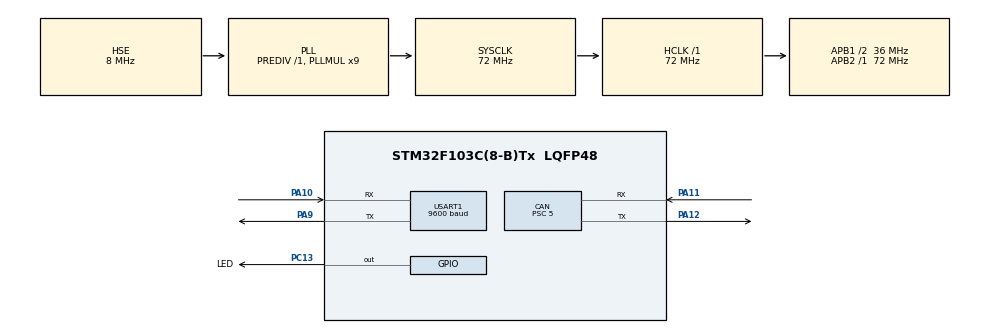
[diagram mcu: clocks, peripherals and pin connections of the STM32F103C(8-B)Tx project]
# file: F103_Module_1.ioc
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CAN.BS1=CAN_BS1_10TQ
CAN.BS2=CAN_BS2_5TQ
CAN.CalculateBaudRate=450000
CAN.CalculateTimeBit=2222
CAN.CalculateTimeQuantum=138.88888888888889
CAN.Prescaler=5
Mcu.Family=STM32F1
Mcu.Name=STM32F103C(8-B)Tx
Mcu.Package=LQFP48
NVIC.PriorityGroup=NVIC_PRIORITYGROUP_4
PA10.Mode=Asynchronous
PA10.Signal=USART1_RX
PA11.Mode=CAN_Activate
PA11.Signal=CAN_RX
PA12.Mode=CAN_Activate
PA12.Signal=CAN_TX
PA9.Mode=Asynchronous
PA9.Signal=USART1_TX
PC13-TAMPER-RTC.GPIO_Label=LED
PC13-TAMPER-RTC.Signal=GPIO_Output
PD0-OSC_IN.Mode=HSE-External-Oscillator
PD0-OSC_IN.Signal=RCC_OSC_IN
PD1-OSC_OUT.Mode=HSE-External-Oscillator
PD1-OSC_OUT.Signal=RCC_OSC_OUT
ProjectManager.HeapSize=0x200
ProjectManager.StackSize=0x400
ProjectManager.TargetToolchain=STM32CubeIDE
RCC.AHBFreq_Value=72000000
RCC.APB1CLKDivider=RCC_HCLK_DIV2
RCC.APB1Freq_Value=36000000
RCC.APB1TimFreq_Value=72000000
RCC.APB2Freq_Value=72000000
RCC.APB2TimFreq_Value=72000000
RCC.HCLKFreq_Value=72000000
RCC.PLLMUL=RCC_PLL_MUL9
RCC.PLLSourceVirtual=RCC_PLLSOURCE_HSE
RCC.SYSCLKFreq_VALUE=72000000
RCC.SYSCLKSource=RCC_SYSCLKSOURCE_PLLCLK
RCC.USBFreq_Value=72000000
USART1.BaudRate=9600
USART1.VirtualMode=VM_ASYNC
board=custom

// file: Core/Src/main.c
/* USER CODE BEGIN Header */
/**
  ******************************************************************************
  * @file           : main.c
  * @brief          : Main program body
  ******************************************************************************
  * @attention
  *
  * Copyright (c) 2024 STMicroelectronics.
  * All rights reserved.
  *
  * This software is licensed under terms that can be found in the LICENSE file
  * in the root directory of this software component.
  * If no LICENSE file comes with this software, it is provided AS-IS.
  *
  ******************************************************************************
  */
/* USER CODE END Header */
#include "main.h"

/* USER CODE BEGIN Includes */
#include <math.h>
#include<stdio.h>
#include<string.h>
#include <stdlib.h>

/* USER CODE END Includes */

CAN_HandleTypeDef hcan;

UART_HandleTypeDef huart1;

/* USER CODE BEGIN PV */
char datatxt[5];
float data2;
double data3;
int virgulOncesi;
int virgulSonrasi;
uint8_t Package8_1[8];
uint8_t Package8_2[8];
uint8_t Package8_3[8];
uint8_t Package8_4[8];

float Package81_1[8];
float Package81_2[8];
float Package81_3[8];
float Package81_4[8];

uint8_t dataReceive[8];
char sdata[20];
float Package1[8];
float Package2[8];
float Package3[8];
float Package4[8];
int i;
int satallite = 8;
uint8_t nextionEnd[3] = {0xFF,0xFF,0xFF};

/* USER CODE END PV */

void SystemClock_Config(void);
static void MX_GPIO_Init(void);
static void MX_CAN_Init(void);
static void MX_USART1_UART_Init(void);
/* USER CODE BEGIN PFP */
void sendNextion();
uint8_t def_msb(float value);
uint8_t def_lsb(float value);
double Thermistor(uint8_t value);
/*
float getVoltage(uint8_t value){
	value = value*3.3/255;

}*/

void txtNextion(char *location, float data);
void numNextion(char *location, int data);
void picNextion(char *location, int data);
void ppicNextion(char *location, int data);
void progbarNextion(char *location, int data);
void inttxtNextion(char *location, int data);
/* USER CODE END PFP */

/* USER CODE BEGIN 0 */
CAN_RxHeaderTypeDef RxHeader[0];

/* USER CODE END 0 */

int main(void)
{

  /* MCU Configuration--------------------------------------------------------*/

  /* Reset of all peripherals, Initializes the Flash interface and the Systick. */
  HAL_Init();

  /* Configure the system clock */
  SystemClock_Config();

  /* Initialize all configured peripherals */
  MX_GPIO_Init();
  MX_CAN_Init();
  MX_USART1_UART_Init();
  /* USER CODE BEGIN 2 */
  HAL_CAN_Start(&hcan);

  /* USER CODE END 2 */

  /* Infinite loop */
  while (1)
  {

    /* USER CODE BEGIN 3 */
	  HAL_GPIO_WritePin(LED_GPIO_Port, LED_Pin, 1);
	  //HAL_Delay(50);
	  HAL_CAN_GetRxMessage(&hcan, CAN_RX_FIFO0, &RxHeader[0], dataReceive);
	  if(RxHeader[0].ExtId == 0x0CFFFFFF){
		  HAL_GPIO_WritePin(LED_GPIO_Port, LED_Pin, 0);
		  HAL_Delay(50);
		  for(i=0;i<=7;i++){
			  Package8_1[i] = dataReceive[i];
		  }
	  }
	  HAL_CAN_GetRxMessage(&hcan, CAN_RX_FIFO0, &RxHeader[0], dataReceive);
	  if(RxHeader[0].ExtId == 0x0DFFFFFF){
	  HAL_GPIO_WritePin(LED_GPIO_Port, LED_Pin, 0);
	  //HAL_Delay(50);
		  for(i=0;i<=7;i++){
			  Package8_2[i] = dataReceive[i];
		  }
	  }
	  HAL_CAN_GetRxMessage(&hcan, CAN_RX_FIFO0, &RxHeader[0], dataReceive);
	  if(RxHeader[0].ExtId == 0x0EFFFFFF){
	  HAL_GPIO_WritePin(LED_GPIO_Port, LED_Pin, 0);
	  //HAL_Delay(50);
		  for(i=0;i<=7;i++){
			  Package8_3[i] = dataReceive[i];
		  }
	  }
	  HAL_CAN_GetRxMessage(&hcan, CAN_RX_FIFO0, &RxHeader[0], dataReceive);
	  if(RxHeader[0].ExtId == 0x0FFFFFFF){
	  HAL_GPIO_WritePin(LED_GPIO_Port, LED_Pin, 0);
	 // HAL_Delay(50);
		  for(i=0;i<=7;i++){
			  Package8_4[i] = dataReceive[i];
		  }
	  }
	  //HAL_Delay(50);
	  for(i=0;i<=7;i++){
		  Package1[i] = Thermistor(Package8_1[i]);
		  Package2[i] = Thermistor(Package8_2[i]);
		  Package3[i] = Thermistor(Package8_3[i]);

		  //Package4[i] = Thermistor(Package8_4[i]*16);
	  }
	  Package3[4] = Package8_3[4]*84/255;
	  Package4[0] = Thermistor(Package8_4[0]);
	  Package4[1] = Thermistor(Package8_4[1]);
	  Package4[2] = Thermistor(Package8_4[2]);
	  Package4[3] = Package8_4[3];
	  Package4[4] = Thermistor(Package8_4[4]);
	  Package4[5] = Package8_4[5];
/*
	  while(Package1[0] && Package2[0] && Package2[0] && Package2[0] == "nan"){

	  }
	  */
	  /*
		  for(int i = 0;i<8;i++){
			  int x = (int)def_msb(Package81_1[i]);
			  int y = (int)def_lsb(Package81_1[i]);
			  Package1[i] = (float)x+(float)(y/100.00);
			  x=0;
			  y=0;

			  x = (int)def_msb(Package81_2[i]);
			  y = (int)def_lsb(Package81_2[i]);
			  Package2[i] = (float)x+(float)(y/100.00);
			  x=0;
			  y=0;

			  x = (int)def_msb(Package81_3[i]);
			  y = (int)def_lsb(Package81_3[i]);
			  Package3[i] = (float)x+(float)(y/100.00);
			  x=0;
			  y=0;

			  x = (int)def_msb(Package81_4[i]);
			  y = (int)def_lsb(Package81_4[i]);
			  Package4[i] = (float)x+(float)(y/100.00);
			  x=0;
			  y=0;
		  }
		  */
	  sendNextion();

  }
  /* USER CODE END 3 */
}

void SystemClock_Config(void)
{
  RCC_OscInitTypeDef RCC_OscInitStruct = {0};
  RCC_ClkInitTypeDef RCC_ClkInitStruct = {0};

  /** Initializes the RCC Oscillators according to the specified parameters
  * in the RCC_OscInitTypeDef structure.
  */
  RCC_OscInitStruct.OscillatorType = RCC_OSCILLATORTYPE_HSE;
  RCC_OscInitStruct.HSEState = RCC_HSE_ON;
  RCC_OscInitStruct.HSEPredivValue = RCC_HSE_PREDIV_DIV1;
  RCC_OscInitStruct.HSIState = RCC_HSI_ON;
  RCC_OscInitStruct.PLL.PLLState = RCC_PLL_ON;
  RCC_OscInitStruct.PLL.PLLSource = RCC_PLLSOURCE_HSE;
  RCC_OscInitStruct.PLL.PLLMUL = RCC_PLL_MUL9;
  if (HAL_RCC_OscConfig(&RCC_OscInitStruct) != HAL_OK)
  {
    Error_Handler();
  }

  /** Initializes the CPU, AHB and APB buses clocks
  */
  RCC_ClkInitStruct.ClockType = RCC_CLOCKTYPE_HCLK|RCC_CLOCKTYPE_SYSCLK
                              |RCC_CLOCKTYPE_PCLK1|RCC_CLOCKTYPE_PCLK2;
  RCC_ClkInitStruct.SYSCLKSource = RCC_SYSCLKSOURCE_PLLCLK;
  RCC_ClkInitStruct.AHBCLKDivider = RCC_SYSCLK_DIV1;
  RCC_ClkInitStruct.APB1CLKDivider = RCC_HCLK_DIV2;
  RCC_ClkInitStruct.APB2CLKDivider = RCC_HCLK_DIV1;

  if (HAL_RCC_ClockConfig(&RCC_ClkInitStruct, FLASH_LATENCY_2) != HAL_OK)
  {
    Error_Handler();
  }
}

static void MX_CAN_Init(void)
{

  hcan.Instance = CAN1;
  hcan.Init.Prescaler = 5;
  hcan.Init.Mode = CAN_MODE_NORMAL;
  hcan.Init.SyncJumpWidth = CAN_SJW_1TQ;
  hcan.Init.TimeSeg1 = CAN_BS1_10TQ;
  hcan.Init.TimeSeg2 = CAN_BS2_5TQ;
  hcan.Init.TimeTriggeredMode = DISABLE;
  hcan.Init.AutoBusOff = DISABLE;
  hcan.Init.AutoWakeUp = DISABLE;
  hcan.Init.AutoRetransmission = DISABLE;
  hcan.Init.ReceiveFifoLocked = DISABLE;
  hcan.Init.TransmitFifoPriority = DISABLE;
  if (HAL_CAN_Init(&hcan) != HAL_OK)
  {
    Error_Handler();
  }
  /* USER CODE BEGIN CAN_Init 2 */

  CAN_FilterTypeDef canfilterconfig;
  canfilterconfig.FilterActivation = CAN_FILTER_ENABLE;
  canfilterconfig.FilterBank = 10;  // which filter bank to use from the assigned ones
  canfilterconfig.FilterFIFOAssignment = CAN_FILTER_FIFO0;
  canfilterconfig.FilterIdHigh = 0x000<<5;
  canfilterconfig.FilterIdLow = 0;
  canfilterconfig.FilterMaskIdHigh = 0x000<<5;
  canfilterconfig.FilterMaskIdLow = 0x0000;
  canfilterconfig.FilterMode = CAN_FILTERMODE_IDMASK;
  canfilterconfig.FilterScale = CAN_FILTERSCALE_32BIT;
  canfilterconfig.SlaveStartFilterBank = 13;  // how many filters to assign to the CAN1 (master can)
  HAL_CAN_ConfigFilter(&hcan, &canfilterconfig);

  /* USER CODE END CAN_Init 2 */

}

static void MX_USART1_UART_Init(void)
{

  huart1.Instance = USART1;
  huart1.Init.BaudRate = 9600;
  huart1.Init.WordLength = UART_WORDLENGTH_8B;
  huart1.Init.StopBits = UART_STOPBITS_1;
  huart1.Init.Parity = UART_PARITY_NONE;
  huart1.Init.Mode = UART_MODE_TX_RX;
  huart1.Init.HwFlowCtl = UART_HWCONTROL_NONE;
  huart1.Init.OverSampling = UART_OVERSAMPLING_16;
  if (HAL_UART_Init(&huart1) != HAL_OK)
  {
    Error_Handler();
  }

}

static void MX_GPIO_Init(void)
{
  GPIO_InitTypeDef GPIO_InitStruct = {0};

  /* GPIO Ports Clock Enable */
  __HAL_RCC_GPIOC_CLK_ENABLE();
  __HAL_RCC_GPIOD_CLK_ENABLE();
  __HAL_RCC_GPIOA_CLK_ENABLE();

  /*Configure GPIO pin Output Level */
  HAL_GPIO_WritePin(LED_GPIO_Port, LED_Pin, GPIO_PIN_RESET);

  /*Configure GPIO pin : LED_Pin */
  GPIO_InitStruct.Pin = LED_Pin;
  GPIO_InitStruct.Mode = GPIO_MODE_OUTPUT_PP;
  GPIO_InitStruct.Pull = GPIO_NOPULL;
  GPIO_InitStruct.Speed = GPIO_SPEED_FREQ_LOW;
  HAL_GPIO_Init(LED_GPIO_Port, &GPIO_InitStruct);

}

/* USER CODE BEGIN 4 */
void sendNextion(){
 HAL_Delay(10);
 picNextion("p1",(int)Package4[3]);
 numNextion("n0",(int)Package4[3]);
 txtNextion("t1",Package3[5]);
 txtNextion("t2",Package3[6]);
 txtNextion("t3",Package3[7]);
 txtNextion("t4",Package4[0]);
 txtNextion("t5",Package4[1]);
 if (Package3[5] >= 50 || Package3[6] >= 50 || Package3[7] >= 50 || Package4[0] >= 50 || Package4[1] >= 50) {
     int alert_pic = 68;
     picNextion("p2",alert_pic);
   }
 else {
     int alert_pic = 67;
     picNextion("p2",alert_pic);
   }
 txtNextion("t6",Package4[2]);
 txtNextion("t7",Package1[0]);
 txtNextion("t8",Package1[1]);
 txtNextion("t9",Package1[2]);
 txtNextion("t10",Package1[3]);
 txtNextion("t11",Package1[4]);
 txtNextion("t12",Package1[5]);
 txtNextion("t13",Package1[6]);
 txtNextion("t14",Package1[7]);
 txtNextion("t15",Package2[0]);
 txtNextion("t16",Package2[1]);
 txtNextion("t17",Package2[2]);
 txtNextion("t18",Package2[3]);
 txtNextion("t19",Package2[4]);
 txtNextion("t20",Package2[5]);
 txtNextion("t21",Package2[6]);
 txtNextion("t22",Package2[7]);
 txtNextion("t23",Package3[0]);
 txtNextion("t24",Package3[1]);
 txtNextion("t25",Package3[2]);
 txtNextion("t26",Package3[3]);
 txtNextion("t27",(float)Package3[4]);
 txtNextion("t28",Package4[4]);
 inttxtNextion("t29",(int)Package4[5]);
 if (Package4[5] <= 100 && Package4[5] > 50) {
     int ppic = 66;
     ppicNextion("j0", ppic);
   }
 else if (Package4[5] <= 60 && Package4[5] > 40) {
     int ppic = 65;
     ppicNextion("j0", ppic);
   }
 else if (Package4[5] <= 40 && Package4[5] > 0) {
     int ppic = 64;
     ppicNextion("j0", ppic);
   }
 progbarNextion("j0", (int)Package4[5]);
 inttxtNextion("t30", (int)satallite);
 picNextion("p3",70); // SD kart
 HAL_Delay(10);
 //----------------------------NextionEnd---------------------------------

}
uint8_t def_msb(float value){
	virgulOncesi = (int)value; // Virgül öncesi kısmı almak için sayının tam kısmını elde ediyoruz
	return virgulOncesi;
}
uint8_t def_lsb(float value){
	virgulOncesi = (int)value; // Virgül öncesi kısmı almak için sayının tam kısmını elde ediyoruz
	virgulSonrasi = (int)((value - virgulOncesi) * 100); // Virgül sonrası kısmını elde etmek için float değerinden virgül öncesi kısmını çıkarıp 1000 ile çarpmak yeterlidir
	return virgulSonrasi;
}
double Thermistor(uint8_t value){
 uint16_t analogValue = value*16;
 double temperature;
 temperature = log(((40950000 / analogValue) - 10000));
 temperature = 1 / (0.001129148 + (0.000234125 + (0.0000000876741 * temperature * temperature)) * temperature);
 temperature = temperature - 273.15;
 return temperature;
}
/*
float getVoltage(uint8_t value){
	value = value*3.3/255;

}*/

void txtNextion(char *location, float data){

	char text[50];
	//char sdata[8];
	//sprintf(sdata,"%f",data);
	virgulOncesi = def_msb(data); // Virgül öncesi kısmı almak için sayının tam kısmını elde ediyoruz
	virgulSonrasi = def_lsb(data);
	//data2 = virgulOncesi + (virgulSonrasi/100.0);
/*
	data3 = round(data * 100) / 100;
	sprintf(datatxt,"%.2f",data3);
	*/
/*
	data3 = (int)(data*100);
	data2 = (float)(data3/100);
*/
	if(virgulSonrasi <10){
		sprintf(datatxt,"%d.0%d",virgulOncesi,virgulSonrasi);
	}
	else{
		sprintf(datatxt,"%d.%d",virgulOncesi,virgulSonrasi);
	}

	int length = sprintf(text,"%s.txt=\"%s\"",location, datatxt);
	HAL_UART_Transmit(&huart1, (uint8_t *)text, length, 1000);
	HAL_UART_Transmit(&huart1, (uint8_t *)nextionEnd, 3, 100);
	//memset(text, '\0', sizeof(text));
}
void numNextion(char *location, int data){

	char text[50];

	int length = sprintf(text,"%s.val=%d",location,data);
	HAL_UART_Transmit(&huart1, (uint8_t *)text, length, 100);
	HAL_UART_Transmit(&huart1, (uint8_t *)nextionEnd, 3, 100);
	//memset(text, '\0', sizeof(text));
}
void picNextion(char *location, int data){
	char text[50];

	int length = sprintf(text,"%s.pic=%d",location,data);
	HAL_UART_Transmit(&huart1, (uint8_t *)text, length, 100);
	HAL_UART_Transmit(&huart1, (uint8_t *)nextionEnd, 3, 100);
	//memset(text, '\0', sizeof(text));

}
void ppicNextion(char *location, int data){
	char text[50];

	int length = sprintf(text,"%s.ppic=%d",location,data);
	HAL_UART_Transmit(&huart1, (uint8_t *)text, length, 100);
	HAL_UART_Transmit(&huart1, (uint8_t *)nextionEnd, 3, 100);
	//memset(text, '\0', sizeof(text));
}
void progbarNextion(char *location, int data){
	char text[50];

	int length = sprintf(text,"%s.val=%d",location,data);
	HAL_UART_Transmit(&huart1, (uint8_t *)text, length, 100);
	HAL_UART_Transmit(&huart1, (uint8_t *)nextionEnd, 3, 100);
	//memset(text, '\0', sizeof(text));
}
void inttxtNextion(char *location, int data){

	char text[50];
	//sprintf(sdata,"%f",data);
	int length = sprintf(text,"%s.txt=\"%d\"",location,data);
	HAL_UART_Transmit(&huart1, (uint8_t *)text, length, 100);
	HAL_UART_Transmit(&huart1, (uint8_t *)nextionEnd, 3, 100);
	//memset(text, '\0', sizeof(text));
}

/* USER CODE END 4 */

void Error_Handler(void)
{
  __disable_irq();
  while (1)
  {
  }
}
